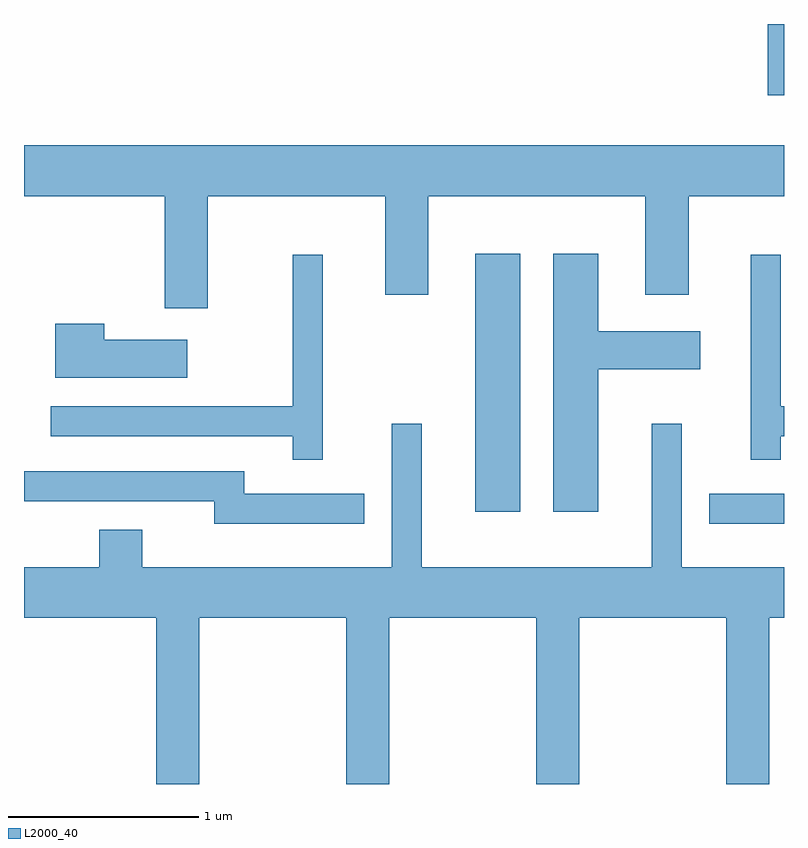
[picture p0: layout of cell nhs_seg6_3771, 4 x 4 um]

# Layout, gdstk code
import gdstk
lib = gdstk.Library(unit=1e-6, precision=1e-09)
def R(c, l, rs):  # rectangles x0, y0, x1, y1
    for r in rs: c.add(gdstk.rectangle(r[:2], r[2:], *l))
def P(c, l, *ps):  # polygons
    for p in ps: c.add(gdstk.Polygon(p, *l))
L2000_40 = (2000, 40)

nhs_seg6_3771 = lib.new_cell('nhs_seg6_3771')
R(nhs_seg6_3771, L2000_40, [(301.218,1661.531,301.611,1661.689), (299.986,1661.596,300.224,1662.954), (301.526,1663.786,301.611,1664.162)])
P(nhs_seg6_3771, L2000_40, [(298.579,1663.256),(299.511,1663.256),(299.511,1662.736),(299.739,1662.736),(299.739,1663.256),(300.881,1663.256),(300.881,1662.736),(301.109,1662.736),(301.109,1663.256),(301.611,1663.256),(301.611,1663.524),(297.611,1663.524),(297.611,1663.256),(298.351,1663.256),(298.351,1662.666),(298.579,1662.666)],
  [(300.634,1662.346),(301.169,1662.346),(301.169,1662.544),(300.634,1662.544),(300.634,1662.954),(300.396,1662.954),(300.396,1661.596),(300.634,1661.596)],
  [(299.184,1662.948),(299.026,1662.948),(299.026,1662.149),(297.753,1662.149),(297.753,1661.991),(299.026,1661.991),(299.026,1661.868),(299.184,1661.868)],
  [(301.594,1661.991),(301.611,1661.991),(301.611,1662.149),(301.594,1662.149),(301.594,1662.948),(301.436,1662.948),(301.436,1661.868),(301.594,1661.868)],
  [(298.469,1662.499),(298.034,1662.499),(298.034,1662.584),(297.776,1662.584),(297.776,1662.301),(298.469,1662.301)],
  [(298.534,1661.036),(299.306,1661.036),(299.306,1660.162),(299.534,1660.162),(299.534,1661.036),(300.306,1661.036),(300.306,1660.162),(300.534,1660.162),(300.534,1661.036),(301.306,1661.036),(301.306,1660.162),(301.534,1660.162),(301.534,1661.036),(301.611,1661.036),(301.611,1661.304),(301.074,1661.304),(301.074,1662.058),(300.916,1662.058),(300.916,1661.304),(299.704,1661.304),(299.704,1662.058),(299.546,1662.058),(299.546,1661.304),(298.234,1661.304),(298.234,1661.499),(298.006,1661.499),(298.006,1661.304),(297.611,1661.304),(297.611,1661.036),(298.306,1661.036),(298.306,1660.162),(298.534,1660.162)],
  [(299.403,1661.689),(298.769,1661.689),(298.769,1661.809),(297.611,1661.809),(297.611,1661.651),(298.611,1661.651),(298.611,1661.531),(299.403,1661.531)])

lib.write_gds('nhs_seg6_3771.gds')
